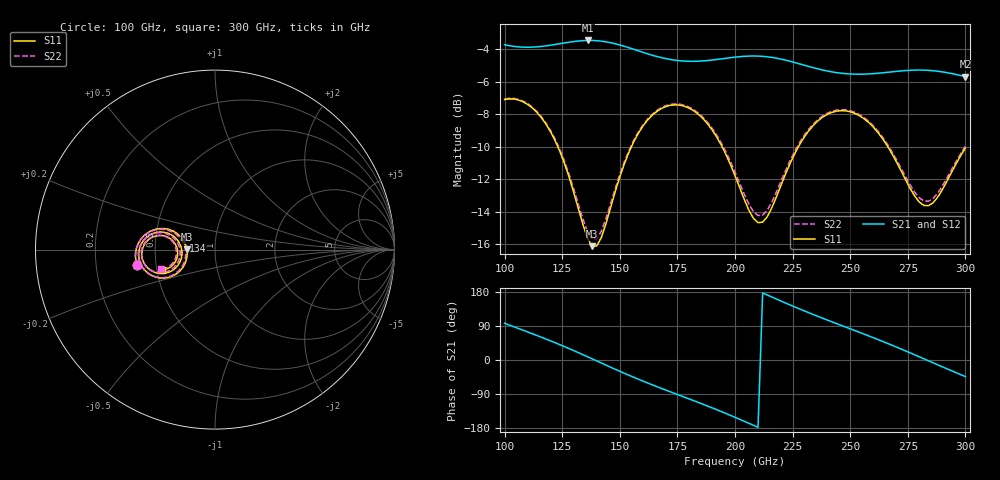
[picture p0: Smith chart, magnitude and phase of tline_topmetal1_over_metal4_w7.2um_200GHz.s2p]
#  GHZ S DB R 50
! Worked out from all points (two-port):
!   101 points, 100 GHz to 300 GHz, reference 50 ohm
!   highest |S21| = -3.45 dB at 136 GHz (marker M1); lowest = -5.7 dB at 300 GHz (marker M2)
!   |S21| within 3 dB of the highest: start of sweep to end of sweep
!   lowest |S11| = -16.1 dB at 138 GHz (marker M3), VSWR 1.37, Z = 36.5 + j0.0747 ohm
!   |S11| at or under -10 dB: 123.1 GHz to 155 GHz (31.89 GHz wide, 22.9 % of centre); 194.4 GHz to 227.5 GHz (33.07 GHz wide, 15.7 % of centre); 266.4 GHz to end of sweep
!   |S22| runs from -15.7 to -7.0 dB; largest |S21 - S12| = 6.9e-14
!   S11 on the Smith chart (normalised r, x): 100 GHz: 0.39, -0.08; 134 GHz: 0.70, +0.07; 300 GHz: 0.54, -0.13
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100  -7.08 -169.2  -3.72 96.9  -3.72 96.9  -7.05 -168.8
108  -7.22 178.0  -3.86 78.6  -3.86 78.6  -7.18 178.6
118  -8.61 163.7  -3.78 55.2  -3.78 55.2  -8.54 164.6
126  -11.02 156.3  -3.60 35.2  -3.60 35.2  -10.89 157.6
134  -14.78 163.8  -3.46 14.0  -3.46 14.0  -14.45 165.1
136  -15.61 170.6  -3.45 8.5  -3.45 8.5  -15.22 171.6
138  -16.11 179.6  -3.45 3.0  -3.45 3.0  -15.67 -180.0
142  -15.57 -161.7  -3.49 -8.0  -3.49 -8.0  -15.19 -162.5
146  -13.73 -150.8  -3.59 -19.0  -3.59 -19.0  -13.49 -152.0
154  -10.31 -149.3  -3.90 -40.3  -3.90 -40.3  -10.21 -150.1
168  -7.64 -166.1  -4.50 -74.8  -4.50 -74.8  -7.59 -166.3
184  -7.98 172.2  -4.72 -111.8  -4.72 -111.8  -7.91 172.6
200  -11.77 161.2  -4.48 -151.1  -4.48 -151.1  -11.55 162.3
208  -14.40 174.6  -4.41 -172.3  -4.41 -172.3  -13.98 175.1
212  -14.62 -172.2  -4.43 176.9  -4.43 176.9  -14.19 -172.8
224  -10.99 -153.8  -4.73 145.0  -4.73 145.0  -10.82 -155.3
234  -8.67 -160.7  -5.12 119.9  -5.12 119.9  -8.58 -161.7
252  -7.93 178.2  -5.52 77.7  -5.52 77.7  -7.87 177.8
268  -10.38 165.1  -5.38 39.4  -5.38 39.4  -10.26 165.2
276  -12.55 169.0  -5.28 18.9  -5.28 18.9  -12.34 169.1
284  -13.61 -174.4  -5.29 -2.2  -5.29 -2.2  -13.34 -175.0
300  -10.07 -158.8  -5.67 -43.7  -5.67 -43.7  -9.96 -160.1
